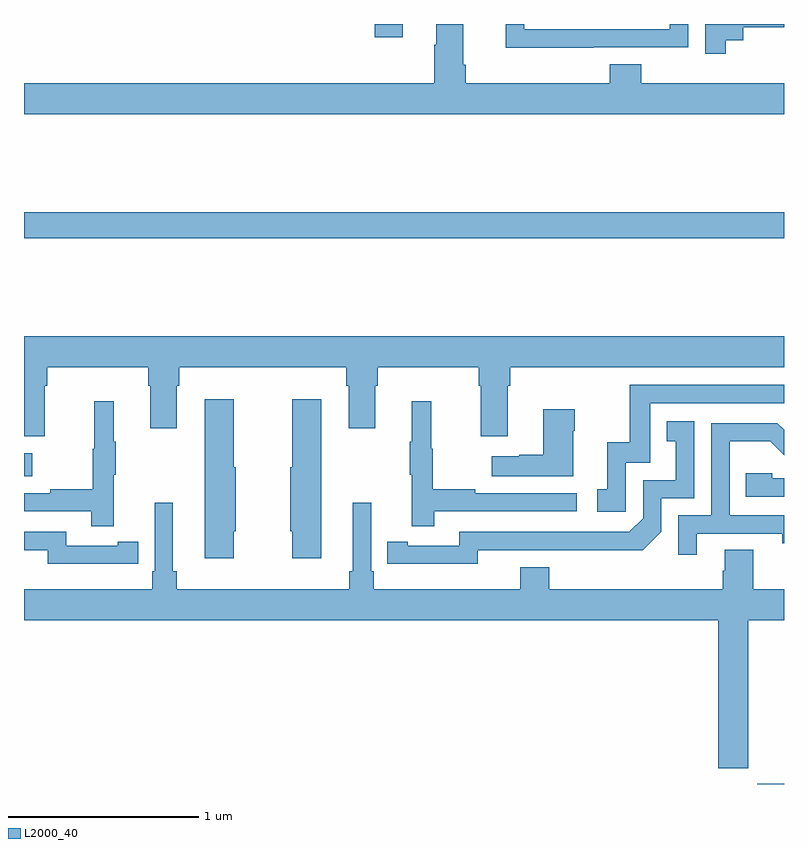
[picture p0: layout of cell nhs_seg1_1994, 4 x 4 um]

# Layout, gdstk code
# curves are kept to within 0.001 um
import gdstk
lib = gdstk.Library(unit=1e-6, precision=1e-09)
def R(c, l, rs):  # rectangles x0, y0, x1, y1
    for r in rs: c.add(gdstk.rectangle(r[:2], r[2:], *l))
def P(c, l, *ps):  # polygons
    for p in ps: c.add(gdstk.Polygon(p, *l))
L2000_40 = (2000, 40)

nhs_seg1_1994 = lib.new_cell('nhs_seg1_1994')
R(nhs_seg1_1994, L2000_40, [(222.86,556.199,223,556.201), (219,557.819,219.043,557.941), (219,559.072,223,559.208), (220.845,560.13,220.993,560.199)])
P(nhs_seg1_1994, L2000_40, [(222.694,560.113),(222.786,560.113),(222.786,560.181),(223,560.181),(223,560.199),(222.585,560.199),(222.585,560.043),(222.694,560.043)],
  [(221.999,560.076),(222.495,560.076),(222.495,560.199),(222.399,560.199),(222.399,560.172),(221.634,560.172),(221.634,560.199),(221.536,560.199),(221.536,560.075),(221.999,560.075)],
  [(223,559.888),(222.248,559.888),(222.248,559.987),(222.083,559.987),(222.083,559.888),(221.324,559.888),(221.324,559.984),(221.311,559.984),(221.311,560.197),(221.171,560.197),(221.171,560.09),(221.159,560.09),(221.159,559.888),(219,559.888),(219,559.724),(223,559.724)],
  [(219,558.03),(219.109,558.03),(219.109,558.296),(219.122,558.296),(219.122,558.392),(219.653,558.392),(219.653,558.296),(219.665,558.296),(219.665,558.072),(219.805,558.072),(219.805,558.296),(219.818,558.296),(219.818,558.392),(220.697,558.392),(220.697,558.296),(220.709,558.296),(220.709,558.072),(220.849,558.072),(220.849,558.296),(220.862,558.296),(220.862,558.392),(221.393,558.392),(221.393,558.296),(221.405,558.296),(221.405,558.03),(221.545,558.03),(221.545,558.296),(221.558,558.296),(221.558,558.392),(223,558.392),(223,558.556),(219,558.556)],
  [(222.168,557.889),(222.297,557.889),(222.297,558.204),(223,558.204),(223,558.3),(222.189,558.3),(222.189,557.998),(222.071,557.998),(222.071,557.751),(222.018,557.751),(222.018,557.631),(222.168,557.631)],
  [(220.564,558.223),(220.411,558.223),(220.411,557.865),(220.4,557.865),(220.4,557.529),(220.411,557.529),(220.411,557.388),(220.564,557.388)],
  [(220.104,557.529),(220.114,557.529),(220.114,557.865),(220.104,557.865),(220.104,558.223),(219.95,558.223),(219.95,557.388),(220.104,557.388)],
  [(219.473,557.827),(219.484,557.827),(219.484,558.001),(219.473,558.001),(219.473,558.214),(219.37,558.214),(219.37,557.964),(219.363,557.964),(219.363,557.75),(219.139,557.75),(219.139,557.73),(219,557.73),(219,557.634),(219.355,557.634),(219.355,557.556),(219.473,557.556)],
  [(221.159,557.634),(221.908,557.634),(221.908,557.73),(221.375,557.73),(221.375,557.75),(221.152,557.75),(221.152,557.964),(221.144,557.964),(221.144,558.214),(221.042,558.214),(221.042,558.001),(221.031,558.001),(221.031,557.827),(221.042,557.827),(221.042,557.556),(221.159,557.556)],
  [(221.89,558.059),(221.898,558.059),(221.898,558.172),(221.732,558.172),(221.732,557.933),(221.606,557.933),(221.606,557.923),(221.463,557.923),(221.463,557.819),(221.89,557.819)],
  [(221.388,557.43),(222.256,557.429),(222.354,557.526),(222.354,557.703),(222.528,557.703),(222.528,558.109),(222.382,558.109),(222.382,558.003),(222.431,558.003),(222.431,557.799),(222.258,557.799),(222.258,557.598),(222.186,557.526),(221.292,557.526),(221.292,557.454),(221.02,557.454),(221.02,557.474),(220.912,557.474),(220.912,557.358),(221.388,557.357)],
  [(222.541,557.517),(222.992,557.517),(222.992,557.466),(223,557.466),(223,557.613),(222.714,557.613),(222.714,558.002),(222.928,558.002),(223,557.93),(223,558.063),(222.964,558.099),(222.618,558.099),(222.618,557.613),(222.444,557.613),(222.444,557.406),(222.541,557.406)],
  [(223,557.808),(222.939,557.808),(222.939,557.835),(222.799,557.835),(222.799,557.712),(223,557.712)],
  [(222.813,557.06),(223,557.06),(223,557.224),(222.837,557.224),(222.837,557.432),(222.689,557.432),(222.689,557.322),(222.677,557.322),(222.677,557.224),(221.765,557.224),(221.765,557.341),(221.612,557.341),(221.612,557.224),(220.841,557.224),(220.841,557.32),(220.827,557.32),(220.827,557.68),(220.73,557.68),(220.73,557.32),(220.711,557.32),(220.711,557.224),(219.803,557.224),(219.803,557.32),(219.784,557.32),(219.784,557.68),(219.687,557.68),(219.687,557.32),(219.674,557.32),(219.674,557.224),(219,557.224),(219,557.06),(222.653,557.06),(222.653,556.281),(222.813,556.281)],
  [(219.494,557.358),(219.602,557.358),(219.602,557.474),(219.494,557.474),(219.494,557.454),(219.222,557.454),(219.222,557.526),(219,557.526),(219,557.43),(219.126,557.43),(219.126,557.357),(219.494,557.357)])

lib.write_gds('nhs_seg1_1994.gds')
